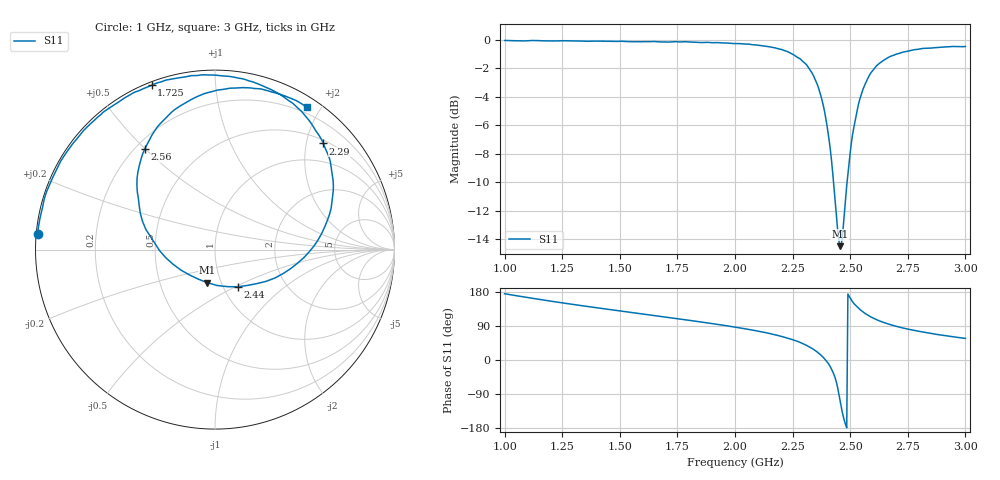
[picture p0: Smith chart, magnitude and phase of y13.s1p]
!  02.03.2026  10:38:16
! Ref Plane: 0,000 mm
# MHZ S MA R  50
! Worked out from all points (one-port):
!   401 points, 1 GHz to 3 GHz, reference 50 ohm
!   lowest |S11| = -14.5 dB at 2.455 GHz (marker M1), VSWR 1.47, Z = 42.8 - j16.3 ohm
!   |S11| at or under -10 dB: 2.428 GHz to 2.486 GHz (58.77 MHz wide, 2.39 % of centre)
!   S11 on the Smith chart (normalised r, x): 1 GHz: 0.00, +0.05; 1.725 GHz: 0.01, +0.69; 2.29 GHz: 0.56, +2.33; 2.44 GHz: 1.17, -0.51; 2.56 GHz: 0.24, +0.50; 3 GHz: 0.12, +1.84
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1000  0.9927 174.8
1130  0.9924 161.9
1250  0.9903 150.8
1500  0.9871 129.5
1725  0.981 111.1
1750  0.9826 108.9
1880  0.978 97.8
2000  0.9684 86.8
2145  0.9447 70.6
2200  0.9243 62.6
2250  0.889 53.6
2290  0.8451 44.4
2340  0.7492 28.3
2375  0.6253 11.8
2405  0.4658 -9.4
2425  0.3348 -31.9
2440  0.2426 -58.7
2455  0.1891 -103.7
2470  0.2219 -149.3
2500  0.4013 163.7
2530  0.565 140.4
2560  0.6838 124.9
2595  0.7737 111.9
2635  0.835 101.3
2685  0.8787 91.4
2750  0.9114 81.5
2875  0.9375 67.6
3000  0.9456 57.0
